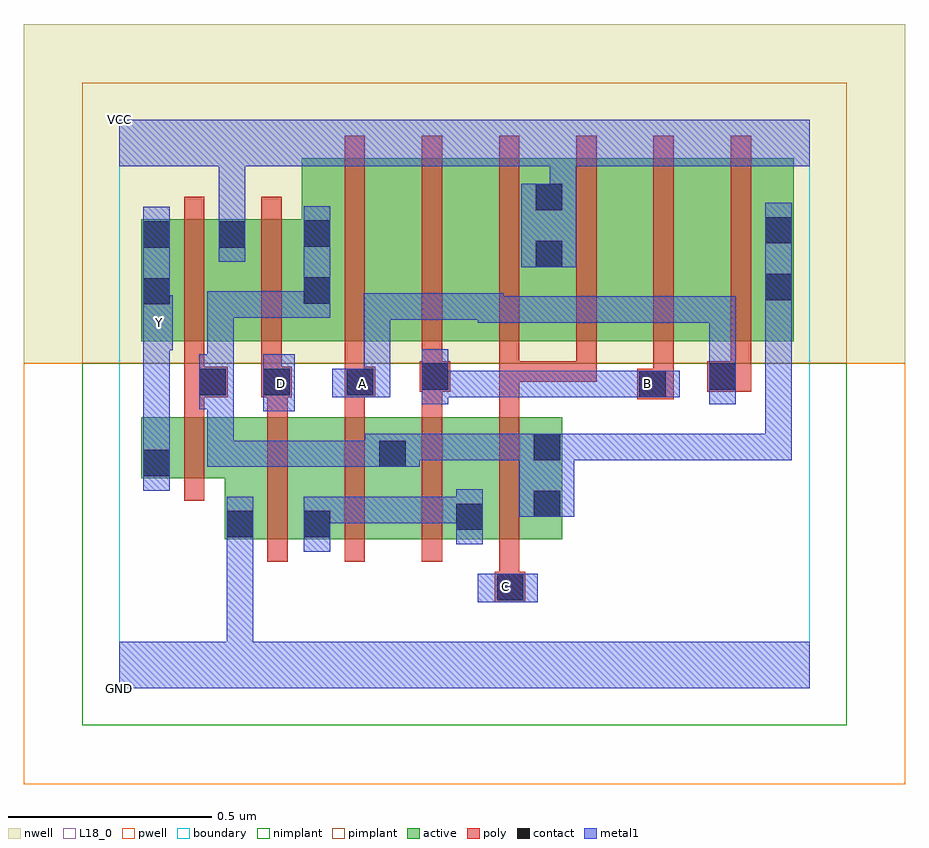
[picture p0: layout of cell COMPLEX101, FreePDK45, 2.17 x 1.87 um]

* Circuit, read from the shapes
.subckt COMPLEX101 A B C D GND VCC Y
M1 GND n1 Y VSUBS nfet w=0.15u l=0.05u
M2 n2 D GND VSUBS nfet w=0.3u l=0.05u
M3 n1 A n2 VSUBS nfet w=0.3u l=0.05u
M4 n2 B n1 VSUBS nfet w=0.3u l=0.05u
M5 n1 C n2 VSUBS nfet w=0.3u l=0.05u
M6 VCC n1 Y n3 pfet w=0.3u l=0.05u
M7 n1 D VCC n3 pfet w=0.3u l=0.05u
M8 n4 A n1 n3 pfet w=0.45u l=0.05u
M9 n5 B n4 n3 pfet w=0.45u l=0.05u
M10 VCC C n5 n3 pfet w=0.45u l=0.05u
M11 n6 C VCC n3 pfet w=0.45u l=0.05u
M12 n7 B n6 n3 pfet w=0.45u l=0.05u
M13 n1 A n7 n3 pfet w=0.45u l=0.05u
.ends

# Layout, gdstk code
import gdstk
lib = gdstk.Library(unit=1e-6, precision=1e-09)
def R(c, l, rs):  # rectangles x0, y0, x1, y1
    for r in rs: c.add(gdstk.rectangle(r[:2], r[2:], *l))
def A(c, l, x, y, w, h, nx, ny, dx, dy):  # array of equal rectangles
    R(c, l, [(x+i*dx, y+j*dy, x+i*dx+w, y+j*dy+h) for i in range(nx) for j in range(ny)])
active = (1, 0)
pwell = (2, 0)
nwell = (3, 0)
nimplant = (4, 0)
pimplant = (5, 0)
poly = (9, 0)
contact = (10, 0)
metal1 = (11, 0)
L18_0 = (18, 0)
boundary = (235, 0)

complex101 = lib.new_cell('COMPLEX101')
R(complex101, active, [(0.26,0.367,0.525,0.667), (0.26,0.367,0.335,0.547), (0.45,0.367,0.71,0.667), (0.45,0.367,0.525,0.547), (0.635,0.367,0.9,0.667), (0.825,0.367,1.09,0.667), (0.635,0.382,0.71,0.615), (0.825,0.385,0.9,0.547), (1.015,0.407,1.09,0.667), (0.055,0.517,0.335,0.667), (0.055,0.517,0.13,0.667), (0.055,0.855,0.315,1.155), (0.055,0.855,0.13,1.155), (0.24,0.855,0.525,1.155), (0.45,0.855,0.525,1.2), (0.45,0.855,0.675,1.305), (0.675,0.855,0.865,1.305), (0.865,0.855,1.095,1.305), (1.02,0.855,1.245,1.305), (1.02,0.855,1.095,1.305), (1.245,0.855,1.435,1.305), (1.435,0.855,1.66,1.305), (1.585,0.855,1.66,1.2), (0.24,1.007,0.315,1.155)])
R(complex101, pwell, [(-0.235,-0.235,1.935,0.8)])
R(complex101, nwell, [(-0.235,0.8,1.935,1.635)])
R(complex101, nimplant, [(-0.09,-0.09,1.79,0.8)])
R(complex101, pimplant, [(-0.09,0.8,1.79,1.49)])
A(complex101, poly, 0.365, 0.312, 0.05, 0.41, 4, 1, 0.19, 0)
A(complex101, poly, 0.745, 0.755, 0.05, 0.095, 3, 1, 0.19, 0)
A(complex101, poly, 0.555, 0.8, 0.05, 0.56, 6, 1, 0.19, 0)
R(complex101, poly, [(0.925,0.212,1,0.287), (0.935,0.237,0.985,0.362), (0.16,0.462,0.21,0.722), (0.16,0.672,0.21,0.767), (0.365,0.672,0.415,0.767), (0.555,0.672,0.605,0.767), (0.745,0.672,0.795,0.78), (0.935,0.672,0.985,0.805), (1.275,0.712,1.365,0.787), (0.16,0.717,0.267,0.792), (0.35,0.717,0.425,0.792), (0.555,0.717,0.63,0.792), (0.74,0.73,0.815,0.805), (1.447,0.73,1.555,0.805), (1.315,0.737,1.365,0.85), (0.16,0.742,0.21,0.85), (0.35,0.742,0.4,0.85), (0.555,0.742,0.605,0.85), (0.935,0.755,0.985,0.805), (0.935,0.755,1.175,0.805), (1.125,0.755,1.175,0.805), (1.125,0.755,1.175,0.805), (1.125,0.755,1.175,0.805), (1.505,0.755,1.555,0.85), (0.16,0.8,0.21,1.21), (0.35,0.8,0.4,1.21)])
R(complex101, contact, [(0.93,0.217,0.995,0.282), (0.265,0.372,0.33,0.437), (0.455,0.372,0.52,0.437), (0.83,0.39,0.895,0.455), (1.02,0.422,1.085,0.487), (0.06,0.522,0.125,0.587), (0.64,0.545,0.705,0.61), (1.02,0.562,1.085,0.627), (1.28,0.717,1.345,0.782), (0.197,0.722,0.262,0.787), (0.355,0.722,0.42,0.787), (0.56,0.722,0.625,0.787), (0.745,0.735,0.81,0.8), (1.452,0.735,1.517,0.8), (0.06,0.945,0.125,1.01), (0.455,0.947,0.52,1.012), (1.59,0.955,1.655,1.02), (1.025,1.037,1.09,1.102), (0.06,1.085,0.125,1.15), (0.245,1.085,0.31,1.15), (0.455,1.087,0.52,1.152), (1.59,1.095,1.655,1.16), (1.025,1.177,1.09,1.242)])
R(complex101, metal1, [(0,0,1.7,0.115), (0.265,0.05,0.33,0.115), (0.265,0.05,0.33,0.115), (0.265,0.05,0.33,0.115), (0.265,0.05,0.33,0.115), (0.265,0.05,0.33,0.402), (0.882,0.212,1.03,0.282), (0.265,0.337,0.33,0.402), (0.265,0.337,0.33,0.402), (0.265,0.337,0.33,0.472), (0.455,0.337,0.52,0.472), (0.83,0.355,0.895,0.49), (0.455,0.407,0.657,0.472), (0.592,0.407,0.657,0.472), (0.592,0.407,0.657,0.472), (0.592,0.407,0.657,0.472), (0.592,0.407,0.807,0.472), (0.742,0.407,0.807,0.472), (0.742,0.407,0.895,0.472), (0.985,0.422,1.12,0.627), (0.06,0.487,0.125,0.622), (0.217,0.545,0.282,0.61), (0.217,0.545,0.452,0.61), (0.217,0.545,0.282,0.822), (0.387,0.545,0.452,0.61), (0.387,0.545,0.452,0.61), (0.387,0.545,0.452,0.61), (0.387,0.545,0.67,0.61), (0.605,0.545,0.67,0.61), (0.605,0.545,0.67,0.61), (0.605,0.545,0.74,0.627), (0.06,0.557,0.125,0.897), (0.675,0.562,0.807,0.627), (0.742,0.562,0.807,0.627), (0.742,0.562,0.877,0.627), (0.812,0.562,0.877,0.627), (0.812,0.562,1.022,0.627), (0.957,0.562,1.022,0.627), (0.957,0.562,1.05,0.627), (1.055,0.562,1.16,0.627), (1.095,0.562,1.16,0.627), (1.095,0.562,1.297,0.627), (1.232,0.562,1.297,0.627), (1.232,0.562,1.297,0.627), (1.232,0.562,1.297,0.627), (1.232,0.562,1.517,0.627), (1.452,0.562,1.517,0.627), (1.452,0.562,1.517,0.627), (1.452,0.562,1.517,0.627), (1.452,0.562,1.655,0.627), (1.59,0.562,1.655,0.985), (1.59,0.562,1.655,0.627), (1.59,0.562,1.655,0.627), (1.59,0.562,1.655,0.627), (0.355,0.682,0.432,0.822), (0.197,0.687,0.262,0.822), (0.745,0.7,0.81,0.835), (1.452,0.7,1.517,0.835), (0.525,0.717,0.667,0.787), (0.745,0.717,0.877,0.782), (0.812,0.717,0.877,0.782), (0.812,0.717,1.022,0.782), (0.957,0.717,1.022,0.782), (0.957,0.717,1.022,0.782), (0.957,0.717,1.022,0.782), (0.957,0.717,1.16,0.782), (1.095,0.717,1.16,0.782), (1.095,0.717,1.297,0.782), (1.232,0.717,1.297,0.782), (1.232,0.717,1.297,0.782), (1.232,0.717,1.38,0.782), (0.602,0.722,0.667,0.787), (0.602,0.722,0.667,0.787), (0.602,0.722,0.667,0.972), (0.197,0.757,0.282,0.822), (0.217,0.757,0.282,0.822), (0.217,0.757,0.282,0.977), (1.452,0.77,1.517,0.835), (1.452,0.77,1.517,0.835), (1.452,0.77,1.517,0.965), (0.06,0.832,0.132,0.967), (0.882,0.9,1.16,0.965), (0.882,0.9,0.947,0.972), (1.095,0.9,1.16,0.965), (1.095,0.9,1.16,0.965), (1.095,0.9,1.16,0.965), (1.095,0.9,1.297,0.965), (1.232,0.9,1.297,0.965), (1.232,0.9,1.297,0.965), (1.232,0.9,1.297,0.965), (1.232,0.9,1.517,0.965), (1.452,0.9,1.517,0.965), (0.06,0.902,0.125,0.975), (0.602,0.907,0.667,0.972), (0.602,0.907,0.807,0.972), (0.742,0.907,0.807,0.972), (0.742,0.907,0.877,0.972), (0.812,0.907,0.877,0.972), (0.812,0.907,0.947,0.972), (0.06,0.91,0.125,1.185), (0.217,0.912,0.282,0.977), (0.217,0.912,0.452,0.977), (0.387,0.912,0.452,0.977), (0.387,0.912,0.52,0.977), (0.455,0.912,0.52,1.187), (1.59,0.92,1.655,1.195), (0.99,1.037,1.125,1.242), (0.245,1.05,0.31,1.185), (0.245,1.12,0.31,1.35), (1.06,1.177,1.125,1.35), (0,1.285,1.7,1.4), (0.245,1.285,0.31,1.35), (0.245,1.285,0.31,1.35)])
R(complex101, L18_0, [(0,0,1.7,0.115), (0.265,0.05,0.33,0.115), (0.265,0.05,0.33,0.115), (0.265,0.05,0.33,0.115), (0.265,0.05,0.33,0.115), (0.265,0.05,0.33,0.402), (0.882,0.212,1.03,0.282), (0.917,0.217,0.982,0.282), (0.265,0.337,0.33,0.472), (0.265,0.337,0.33,0.402), (0.265,0.337,0.33,0.402), (0.06,0.487,0.125,0.622), (0.06,0.557,0.125,0.897), (0.355,0.682,0.432,0.822), (0.745,0.7,0.81,0.835), (1.452,0.7,1.517,0.835), (0.367,0.717,0.432,0.782), (0.525,0.717,0.667,0.787), (0.567,0.717,0.632,0.782), (0.745,0.717,0.877,0.782), (0.812,0.717,0.877,0.782), (0.812,0.717,1.022,0.782), (0.957,0.717,1.022,0.782), (0.957,0.717,1.022,0.782), (0.957,0.717,1.022,0.782), (0.957,0.717,1.16,0.782), (1.095,0.717,1.16,0.782), (1.095,0.717,1.297,0.782), (1.232,0.717,1.297,0.782), (1.232,0.717,1.297,0.782), (1.232,0.717,1.38,0.782), (1.267,0.717,1.332,0.782), (0.602,0.722,0.667,0.787), (0.602,0.722,0.667,0.787), (0.602,0.722,0.667,0.972), (1.452,0.77,1.517,0.835), (1.452,0.77,1.517,0.835), (1.452,0.77,1.517,0.965), (0.06,0.832,0.132,0.967), (0.067,0.867,0.132,0.932), (0.882,0.9,0.947,0.972), (0.882,0.9,1.16,0.965), (1.095,0.9,1.16,0.965), (1.095,0.9,1.16,0.965), (1.095,0.9,1.16,0.965), (1.095,0.9,1.297,0.965), (1.232,0.9,1.297,0.965), (1.232,0.9,1.297,0.965), (1.232,0.9,1.297,0.965), (1.232,0.9,1.517,0.965), (1.452,0.9,1.517,0.965), (0.06,0.902,0.125,0.975), (0.602,0.907,0.667,0.972), (0.602,0.907,0.807,0.972), (0.742,0.907,0.807,0.972), (0.742,0.907,0.877,0.972), (0.812,0.907,0.877,0.972), (0.812,0.907,0.947,0.972), (0.06,0.91,0.125,1.185), (0.99,1.037,1.125,1.242), (0.245,1.05,0.31,1.185), (0.245,1.12,0.31,1.35), (1.06,1.177,1.125,1.35), (0,1.285,1.7,1.4), (0.245,1.285,0.31,1.35), (0.245,1.285,0.31,1.35)])
R(complex101, boundary, [(0,0,1.7,1.4)])
complex101.add(gdstk.Label('A', (0.6,0.75), layer=11, texttype=0))
complex101.add(gdstk.Label('B', (1.3,0.75), layer=11, texttype=0))
complex101.add(gdstk.Label('C', (0.95,0.25), layer=11, texttype=0))
complex101.add(gdstk.Label('D', (0.4,0.75), layer=11, texttype=0))
complex101.add(gdstk.Label('Y', (0.1,0.9), layer=11, texttype=0))
complex101.add(gdstk.Label('VCC', (0,1.4), layer=11, texttype=0))
complex101.add(gdstk.Label('GND', (0,0), layer=11, texttype=0))

lib.write_gds('COMPLEX101.gds')
